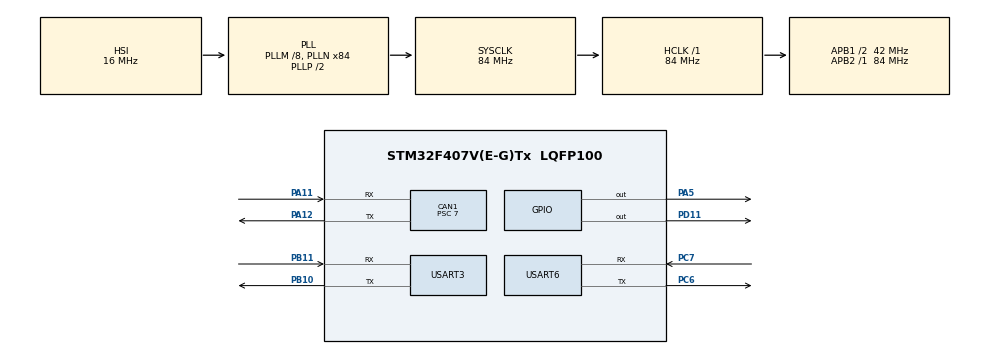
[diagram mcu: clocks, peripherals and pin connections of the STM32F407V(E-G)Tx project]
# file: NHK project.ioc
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CAN1.BS1=CAN_BS1_3TQ
CAN1.BS2=CAN_BS2_2TQ
CAN1.CalculateTimeQuantum=166.66666666666669
CAN1.Prescaler=7
Mcu.Family=STM32F4
Mcu.Name=STM32F407V(E-G)Tx
Mcu.Package=LQFP100
NVIC.CAN1_RX0_IRQn=true\:0\:0\:true\:false\:true\:true\:true
NVIC.PriorityGroup=NVIC_PRIORITYGROUP_4
NVIC.TIM6_DAC_IRQn=true\:2\:0\:true\:false\:true\:true\:true
NVIC.TIM7_IRQn=true\:3\:0\:true\:false\:true\:true\:true
NVIC.USART3_IRQn=true\:1\:0\:true\:false\:true\:true\:true
NVIC.USART6_IRQn=true\:4\:0\:true\:false\:true\:true\:true
PA11.Mode=Master
PA11.Signal=CAN1_RX
PA12.Mode=Master
PA12.Signal=CAN1_TX
PA13.Mode=Serial_Wire
PA13.Signal=SYS_JTMS-SWDIO
PA14.Mode=Serial_Wire
PA14.Signal=SYS_JTCK-SWCLK
PA5.Signal=GPIO_Output
PB10.Mode=Asynchronous
PB10.Signal=USART3_TX
PB11.Mode=Asynchronous
PB11.Signal=USART3_RX
PC6.Mode=Asynchronous
PC6.Signal=USART6_TX
PC7.Mode=Asynchronous
PC7.Signal=USART6_RX
PD11.Signal=GPIO_Output
PH0-OSC_IN.Mode=HSE-External-Clock-Source
PH0-OSC_IN.Signal=RCC_OSC_IN
PH1-OSC_OUT.Mode=HSE-External-Clock-Source
PH1-OSC_OUT.Signal=RCC_OSC_OUT
ProjectManager.HeapSize=0x200
ProjectManager.StackSize=0x400
ProjectManager.TargetToolchain=SW4STM32
RCC.48MHZClocksFreq_Value=42000000
RCC.AHBFreq_Value=84000000
RCC.APB1CLKDivider=RCC_HCLK_DIV2
RCC.APB1Freq_Value=42000000
RCC.APB1TimFreq_Value=84000000
RCC.APB2Freq_Value=84000000
RCC.APB2TimFreq_Value=84000000
RCC.CortexFreq_Value=84000000
RCC.HCLKFreq_Value=84000000
RCC.HSE_VALUE=25000000
RCC.HSI_VALUE=16000000
RCC.LSE_VALUE=32768
RCC.PLLM=8
RCC.PLLN=84
RCC.SYSCLKFreq_VALUE=84000000
RCC.SYSCLKSource=RCC_SYSCLKSOURCE_PLLCLK
RCC.VCOOutputFreq_Value=168000000
TIM1.Period=500-1
TIM1.Prescaler=84-1
TIM1.RepetitionCounter=84-1
TIM6.Period=10000-1
TIM6.Prescaler=36-1
TIM7.Period=500-1
TIM7.Prescaler=36-1
USART3.VirtualMode=VM_ASYNC
USART6.VirtualMode=VM_ASYNC
VP_TIM1_VS_ClockSourceINT.Mode=Internal
VP_TIM6_VS_ClockSourceINT.Mode=Enable_Timer
VP_TIM7_VS_ClockSourceINT.Mode=Enable_Timer
board=custom

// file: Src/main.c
/* USER CODE BEGIN Header */
/**
  ******************************************************************************
  * @file           : main.c
  * @brief          : Main program body
  ******************************************************************************
  * @attention
  *
  * <h2><center>&copy; Copyright (c) 2020 STMicroelectronics.
  * All rights reserved.</center></h2>
  *
  * This software component is licensed by ST under BSD 3-Clause license,
  * the "License"; You may not use this file except in compliance with the
  * License. You may obtain a copy of the License at:
  *                        opensource.org/licenses/BSD-3-Clause
  *
  ******************************************************************************
  */
/* USER CODE END Header */
#include "main.h"
#include "can.h"
#include "tim.h"
#include "usart.h"
#include "gpio.h"

/* USER CODE BEGIN Includes */
#include"stm32f4_printf.h"
#include"ps3.h"
#include "canmd_controller.h"
#include"stm32f4_easy_can.h"
#include "can.h"
#include "tim.h"
#include "usart.h"
#include "gpio.h"
/* USER CODE END Includes */

/* USER CODE BEGIN PV */
//グロバル変数
 static uint8_t uart6_buf[8];
/* USER CODE END PV */

void SystemClock_Config(void);
/* USER CODE BEGIN PFP */
void canmd_status_set_data(int canmd_num,int motor_select,unsigned int DutyOrPid,int p_value,int i_value,int d_value);
/* USER CODE END PFP */

/* USER CODE BEGIN 0 */
int i=0; int x=0;
int id= 1;
int stop =0;
int mode =0;
/* USER CODE END 0 */

int main(void)
{

  /* MCU Configuration--------------------------------------------------------*/

  /* Reset of all peripherals, Initializes the Flash interface and the Systick. */
  HAL_Init();

  /* Configure the system clock */
  SystemClock_Config();

  /* Initialize all configured peripherals */
  MX_GPIO_Init();
  MX_CAN1_Init();
  MX_TIM1_Init();
  MX_TIM6_Init();
  MX_TIM7_Init();
  MX_USART6_UART_Init();
  MX_USART3_UART_Init();
  /* USER CODE BEGIN 2 */
  stm32f4_printf_init(&huart3);
  HAL_UART_Receive_IT(&huart6,uart6_buf,8);
  canmd_controller_init();
  ps3_init();
  stm32f4_easy_can_init(&hcan1,0,0b11111);
  canmd_status_set_data(1,0,0,50,50,50);
  canmd_status_set_data(1,1,0,50,50,50);
  canmd_status_set_data(2,0,0,50,50,50);
  canmd_status_set_data(2,1,0,50,50,50);

  HAL_TIM_Base_Start_IT(&htim6);
  HAL_TIM_Base_Start_IT(&htim7);

  /* USER CODE END 2 */

  /* Infinite loop */
  /* USER CODE BEGIN WHILE */
  while (1)
  {
		Ps3 ps3_data;
		ps3_get_data(&ps3_data);

		//GPIO出力制御
		if(ps3_data.up==1){
			HAL_GPIO_WritePin(GPIOD,GPIO_PIN_11,GPIO_PIN_SET);
		}
		if(ps3_data.down==1){
			HAL_GPIO_WritePin(GPIOD,GPIO_PIN_11,GPIO_PIN_RESET);
		}
		if(ps3_data.shikaku==1){
			HAL_GPIO_TogglePin(GPIOD,GPIO_PIN_11);
		}

		//コントローラ値確認
		stm32f4_printf("up=%d\n\r",ps3_data.up);
		stm32f4_printf("down=%d\n\r",ps3_data.down);

		int encoder[5][2];

		for (int md_id_i = 1; md_id_i <= 4; md_id_i++) {
		 canmd_controller_get_encoder_count(md_id_i, &encoder[md_id_i][0], &encoder[md_id_i][1]);
		}
		HAL_Delay(100);
    /* USER CODE END WHILE */

  }
}

void SystemClock_Config(void)
{
  RCC_OscInitTypeDef RCC_OscInitStruct = {0};
  RCC_ClkInitTypeDef RCC_ClkInitStruct = {0};

  /** Configure the main internal regulator output voltage
  */
  __HAL_RCC_PWR_CLK_ENABLE();
  __HAL_PWR_VOLTAGESCALING_CONFIG(PWR_REGULATOR_VOLTAGE_SCALE1);
  /** Initializes the RCC Oscillators according to the specified parameters
  * in the RCC_OscInitTypeDef structure.
  */
  RCC_OscInitStruct.OscillatorType = RCC_OSCILLATORTYPE_HSI;
  RCC_OscInitStruct.HSIState = RCC_HSI_ON;
  RCC_OscInitStruct.HSICalibrationValue = RCC_HSICALIBRATION_DEFAULT;
  RCC_OscInitStruct.PLL.PLLState = RCC_PLL_ON;
  RCC_OscInitStruct.PLL.PLLSource = RCC_PLLSOURCE_HSI;
  RCC_OscInitStruct.PLL.PLLM = 8;
  RCC_OscInitStruct.PLL.PLLN = 84;
  RCC_OscInitStruct.PLL.PLLP = RCC_PLLP_DIV2;
  RCC_OscInitStruct.PLL.PLLQ = 4;
  if (HAL_RCC_OscConfig(&RCC_OscInitStruct) != HAL_OK)
  {
    Error_Handler();
  }
  /** Initializes the CPU, AHB and APB buses clocks
  */
  RCC_ClkInitStruct.ClockType = RCC_CLOCKTYPE_HCLK|RCC_CLOCKTYPE_SYSCLK
                              |RCC_CLOCKTYPE_PCLK1|RCC_CLOCKTYPE_PCLK2;
  RCC_ClkInitStruct.SYSCLKSource = RCC_SYSCLKSOURCE_PLLCLK;
  RCC_ClkInitStruct.AHBCLKDivider = RCC_SYSCLK_DIV1;
  RCC_ClkInitStruct.APB1CLKDivider = RCC_HCLK_DIV2;
  RCC_ClkInitStruct.APB2CLKDivider = RCC_HCLK_DIV1;

  if (HAL_RCC_ClockConfig(&RCC_ClkInitStruct, FLASH_LATENCY_2) != HAL_OK)
  {
    Error_Handler();
  }
}

/* USER CODE BEGIN 4 */

//UART受信割り込み関数

void HAL_UART_RxCpltCallback(UART_HandleTypeDef *huart)
{
if(huart->Instance == huart6.Instance) {
 ps3_uart_interrupt_routine(uart6_buf,8);
 HAL_UART_Receive_IT(&huart6,uart6_buf,8);
 }
}

void canmd_status_set_data(int canmd_num,int motor_select,unsigned int DutyOrPid,int p_value,int i_value,int d_value)
{
 int id;
 int dlc = 4;
unsigned char data[8];

 id = canmd_num;

 data[0] = ((motor_select << 6) & 0b11000000 ) | DutyOrPid;
data[1] = p_value & 0XFF;
 data[2] = i_value & 0XFF;
 data[3] = d_value & 0XFF;

 HAL_Delay(100);

 stm32f4_easy_can_transmit_message(id, dlc, data);
}

void stm32f4_easy_can_interrupt_handler(void)
{
 int id;
int dlc;
unsigned char data[8];

 stm32f4_easy_can_get_receive_message(&id, &dlc, data);

canmd_controller_set_can_receive_data(id, dlc,data);
}

void HAL_TIM_PeriodElapsedCallback(TIM_HandleTypeDef *htim){
if(htim->Instance == TIM6){

 int motor_output[CANMD_MD_NUM+1][2]={};
 int id =1;

 Ps3 ps3_data;
 ps3_get_data(&ps3_data);

 int motor_output01=0;

 if(ps3_data.sankaku==1){
	 motor_output01=500;
 }
 if(ps3_data.batsu==1){
	 motor_output01=-500;
 }

 motor_output[1][0]=motor_output01;

 for(id = 1; id <(CANMD_MD_NUM + 1);id++){

 canmd_controller_set_motor_control_data(id,motor_output[id][0],motor_output[id][1]);
 }
 }
 if(htim->Instance == TIM7){
 int id = 1;
 int dlc =3;
 unsigned char data[8];

 canmd_controller_get_can_transmit_data(&id, &dlc, data);
 stm32f4_easy_can_transmit_message(id,dlc,data);
 }
}
/* USER CODE END 4 */

void Error_Handler(void)
{
}

/************************ (C) COPYRIGHT STMicroelectronics *****END OF FILE****/
